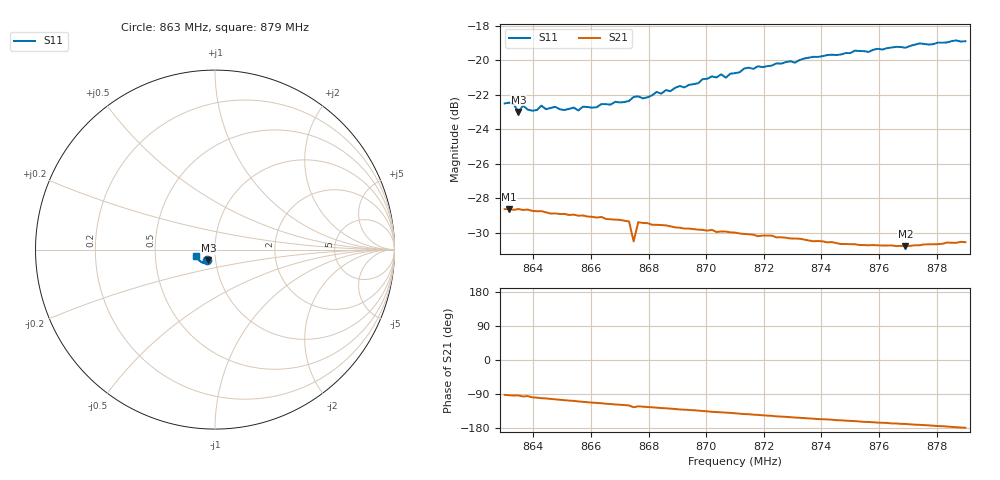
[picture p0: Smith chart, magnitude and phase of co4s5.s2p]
# HZ S RI R 50
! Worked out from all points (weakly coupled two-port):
!   101 points, 863 MHz to 879 MHz, reference 50 ohm
!   highest |S21| = -28.62 dB at 863.16 MHz (marker M1); lowest = -30.8 dB at 876.92 MHz (marker M2)
!   lowest |S11| = -23.0 dB at 863.48 MHz (marker M3), VSWR 1.15, Z = 46.1 - j5.58 ohm
!   |S11| at or under -10 dB: start of sweep to end of sweep
!   S12 and S22 are empty: the file has one direction only
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8.63e8  -0.0447 -0.06  -0.00126 -0.037  0 0  0 0
8.6316e8  -0.0451 -0.0603  -0.00195 -0.037  0 0  0 0
8.6332e8  -0.0445 -0.0596  -0.00238 -0.0367  0 0  0 0
8.6348e8  -0.0371 -0.0602  -0.00219 -0.037  0 0  0 0
8.6364e8  -0.0435 -0.0597  -0.00394 -0.0366  0 0  0 0
8.6396e8  -0.0406 -0.0587  -0.00538 -0.0362  0 0  0 0
8.6428e8  -0.0409 -0.0614  -0.00682 -0.0359  0 0  0 0
8.6444e8  -0.0397 -0.0601  -0.00722 -0.0355  0 0  0 0
8.6556e8  -0.0392 -0.0597  -0.0117 -0.0334  0 0  0 0
8.6572e8  -0.0384 -0.0624  -0.0123 -0.0333  0 0  0 0
8.6732e8  -0.039 -0.0654  -0.0171 -0.0295  0 0  0 0
8.6748e8  -0.0396 -0.0675  -0.017 -0.0245  0 0  0 0
8.6764e8  -0.0407 -0.0671  -0.0181 -0.0287  0 0  0 0
8.6844e8  -0.0409 -0.0686  -0.02 -0.0266  0 0  0 0
8.702e8  -0.0506 -0.0741  -0.0235 -0.0221  0 0  0 0
8.7052e8  -0.0526 -0.0742  -0.0237 -0.0213  0 0  0 0
8.7068e8  -0.0512 -0.0726  -0.024 -0.021  0 0  0 0
8.71e8  -0.0548 -0.0734  -0.0244 -0.0201  0 0  0 0
8.7372e8  -0.0739 -0.0706  -0.027 -0.0127  0 0  0 0
8.7644e8  -0.0936 -0.0553  -0.0284 -0.00636  0 0  0 0
8.7692e8  -0.0953 -0.0521  -0.0284 -0.00563  0 0  0 0
8.79e8  -0.1076 -0.0356  -0.0297 -0.000615  0 0  0 0
